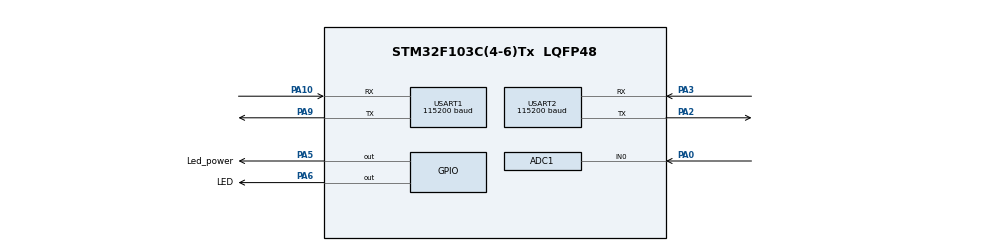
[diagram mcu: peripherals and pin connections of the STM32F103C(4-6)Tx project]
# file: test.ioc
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ADC1.Channel-0\#ChannelRegularConversion=ADC_CHANNEL_0
ADC1.ContinuousConvMode=ENABLE
ADC1.NbrOfConversionFlag=1
ADC1.Rank-0\#ChannelRegularConversion=1
ADC1.SamplingTime-0\#ChannelRegularConversion=ADC_SAMPLETIME_1CYCLE_5
ADC1.master=1
Mcu.Family=STM32F1
Mcu.Name=STM32F103C(4-6)Tx
Mcu.Package=LQFP48
NVIC.PriorityGroup=NVIC_PRIORITYGROUP_4
NVIC.TIM2_IRQn=true\:0\:0\:false\:false\:true\:true\:true
NVIC.USART1_IRQn=true\:0\:0\:false\:false\:true\:true\:true
NVIC.USART2_IRQn=true\:0\:0\:false\:false\:true\:true\:true
PA0-WKUP.Signal=ADCx_IN0
PA10.Mode=Asynchronous
PA10.Signal=USART1_RX
PA2.Mode=Asynchronous
PA2.Signal=USART2_TX
PA3.Mode=Asynchronous
PA3.Signal=USART2_RX
PA5.GPIO_Label=Led_power
PA5.Signal=GPIO_Output
PA6.GPIO_Label=LED
PA6.Signal=GPIO_Output
PA9.Mode=Asynchronous
PA9.Signal=USART1_TX
ProjectManager.HeapSize=0x200
ProjectManager.StackSize=0x400
ProjectManager.TargetToolchain=STM32CubeIDE
RCC.APB1Freq_Value=8000000
RCC.APB2Freq_Value=8000000
SH.ADCx_IN0.0=ADC1_IN0,IN0
TIM2.Period=999
TIM2.Prescaler=79
USART1.BaudRate=115200
USART1.VirtualMode=VM_ASYNC
USART2.BaudRate=115200
USART2.VirtualMode=VM_ASYNC
VP_SYS_VS_ND.Mode=No_Debug
VP_TIM2_VS_ClockSourceINT.Mode=Internal
board=custom

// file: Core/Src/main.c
/* USER CODE BEGIN Header */
/**
  ******************************************************************************
  * @file           : main.c
  * @brief          : Main program body
  ******************************************************************************
  * @attention
  *
  * Copyright (c) 2022 STMicroelectronics.
  * All rights reserved.
  *
  * This software is licensed under terms that can be found in the LICENSE file
  * in the root directory of this software component.
  * If no LICENSE file comes with this software, it is provided AS-IS.
  *
  ******************************************************************************
  */
/* USER CODE END Header */
#include "main.h"

/* USER CODE BEGIN Includes */
#include "timer.h"
#include "command_parser.h"
#include "uart_comm.h"
#include <string.h>
#include <stdio.h>
/* USER CODE END Includes */

ADC_HandleTypeDef hadc1;

TIM_HandleTypeDef htim2;

UART_HandleTypeDef huart1;
UART_HandleTypeDef huart2;

void SystemClock_Config(void);
static void MX_GPIO_Init(void);
static void MX_TIM2_Init(void);
static void MX_USART2_UART_Init(void);
static void MX_USART1_UART_Init(void);
static void MX_ADC1_Init(void);

/* USER CODE BEGIN 0 */

#define MAX_BUFFER_SIZE 50

static uint8_t temp = 0;
uint8_t buffer_flag = 0;
uint8_t buffer[MAX_BUFFER_SIZE];
uint8_t index_buffer = 0;
void HAL_UART_RxCpltCallback(UART_HandleTypeDef *huart){

	if (huart->Instance == USART2) {
		//TODO HERE
		//gui nguoc lai len terminal
//		HAL_UART_Transmit(huart, &temp, 1, 50);
//		buffer[index_buffer++] = temp;
//		if (index_buffer == MAX_BUFFER_SIZE) index_buffer = 0;
		buffer_flag = 1;
		HAL_UART_Transmit(&huart1, &temp, 1,1000);
		//ENABLE LAI INTERRUPT
		HAL_UART_Receive_IT(&huart2, &temp, 1);
	}

}

/* USER CODE END 0 */

int main(void)
{

  /* MCU Configuration--------------------------------------------------------*/

  /* Reset of all peripherals, Initializes the Flash interface and the Systick. */
  HAL_Init();

  /* Configure the system clock */
  SystemClock_Config();

  /* Initialize all configured peripherals */
  MX_GPIO_Init();
  MX_TIM2_Init();
  MX_USART2_UART_Init();
  MX_USART1_UART_Init();
  MX_ADC1_Init();
  /* USER CODE BEGIN 2 */
  HAL_TIM_Base_Start_IT(&htim2);
  HAL_ADC_Start(&hadc1);

  int adc_value = 0;
  static char str[50];

  /* USER CODE END 2 */

  /* Infinite loop */
  /* USER CODE BEGIN WHILE */
  init_timer(0, 1000, 10);
  HAL_UART_Receive_IT(&huart2, &temp, 1);

  while (1)
  {
	  if (get_timer_flag(0) == 1) {
		  HAL_GPIO_TogglePin(GPIOA, Led_power_Pin);
//		  HAL_UART_Transmit(&huart1, &tempp, 1, 1000);
		  adc_value = HAL_ADC_GetValue(&hadc1);
//		  HAL_UART_Transmit(&huart1, (uint8_t*)str, sprintf(str, "%d\r\n", adc_value), 1000);
		  HAL_UART_Transmit(&huart2, (uint8_t*)str, sprintf(str, "!%d#\n", adc_value), 1000);
		  init_timer(0, 1000, 10);

	  }
	  if (buffer_flag == 1) {
//		  HAL_UART_Transmit(&huart1, &temp, 1, 1000);
		  command_parser(temp);
		  buffer_flag = 0;
	  }
	  if (is_command_done()) {
		  uart_comm();

	  }
    /* USER CODE END WHILE */

  }
}

void SystemClock_Config(void)
{
  RCC_OscInitTypeDef RCC_OscInitStruct = {0};
  RCC_ClkInitTypeDef RCC_ClkInitStruct = {0};
  RCC_PeriphCLKInitTypeDef PeriphClkInit = {0};

  /** Initializes the RCC Oscillators according to the specified parameters
  * in the RCC_OscInitTypeDef structure.
  */
  RCC_OscInitStruct.OscillatorType = RCC_OSCILLATORTYPE_HSI;
  RCC_OscInitStruct.HSIState = RCC_HSI_ON;
  RCC_OscInitStruct.HSICalibrationValue = RCC_HSICALIBRATION_DEFAULT;
  RCC_OscInitStruct.PLL.PLLState = RCC_PLL_NONE;
  if (HAL_RCC_OscConfig(&RCC_OscInitStruct) != HAL_OK)
  {
    Error_Handler();
  }
  /** Initializes the CPU, AHB and APB buses clocks
  */
  RCC_ClkInitStruct.ClockType = RCC_CLOCKTYPE_HCLK|RCC_CLOCKTYPE_SYSCLK
                              |RCC_CLOCKTYPE_PCLK1|RCC_CLOCKTYPE_PCLK2;
  RCC_ClkInitStruct.SYSCLKSource = RCC_SYSCLKSOURCE_HSI;
  RCC_ClkInitStruct.AHBCLKDivider = RCC_SYSCLK_DIV1;
  RCC_ClkInitStruct.APB1CLKDivider = RCC_HCLK_DIV1;
  RCC_ClkInitStruct.APB2CLKDivider = RCC_HCLK_DIV1;

  if (HAL_RCC_ClockConfig(&RCC_ClkInitStruct, FLASH_LATENCY_0) != HAL_OK)
  {
    Error_Handler();
  }
  PeriphClkInit.PeriphClockSelection = RCC_PERIPHCLK_ADC;
  PeriphClkInit.AdcClockSelection = RCC_ADCPCLK2_DIV2;
  if (HAL_RCCEx_PeriphCLKConfig(&PeriphClkInit) != HAL_OK)
  {
    Error_Handler();
  }
}

static void MX_ADC1_Init(void)
{

  ADC_ChannelConfTypeDef sConfig = {0};

  /** Common config
  */
  hadc1.Instance = ADC1;
  hadc1.Init.ScanConvMode = ADC_SCAN_DISABLE;
  hadc1.Init.ContinuousConvMode = ENABLE;
  hadc1.Init.DiscontinuousConvMode = DISABLE;
  hadc1.Init.ExternalTrigConv = ADC_SOFTWARE_START;
  hadc1.Init.DataAlign = ADC_DATAALIGN_RIGHT;
  hadc1.Init.NbrOfConversion = 1;
  if (HAL_ADC_Init(&hadc1) != HAL_OK)
  {
    Error_Handler();
  }
  /** Configure Regular Channel
  */
  sConfig.Channel = ADC_CHANNEL_0;
  sConfig.Rank = ADC_REGULAR_RANK_1;
  sConfig.SamplingTime = ADC_SAMPLETIME_1CYCLE_5;
  if (HAL_ADC_ConfigChannel(&hadc1, &sConfig) != HAL_OK)
  {
    Error_Handler();
  }

}

static void MX_TIM2_Init(void)
{

  TIM_ClockConfigTypeDef sClockSourceConfig = {0};
  TIM_MasterConfigTypeDef sMasterConfig = {0};

  htim2.Instance = TIM2;
  htim2.Init.Prescaler = 79;
  htim2.Init.CounterMode = TIM_COUNTERMODE_UP;
  htim2.Init.Period = 999;
  htim2.Init.ClockDivision = TIM_CLOCKDIVISION_DIV1;
  htim2.Init.AutoReloadPreload = TIM_AUTORELOAD_PRELOAD_DISABLE;
  if (HAL_TIM_Base_Init(&htim2) != HAL_OK)
  {
    Error_Handler();
  }
  sClockSourceConfig.ClockSource = TIM_CLOCKSOURCE_INTERNAL;
  if (HAL_TIM_ConfigClockSource(&htim2, &sClockSourceConfig) != HAL_OK)
  {
    Error_Handler();
  }
  sMasterConfig.MasterOutputTrigger = TIM_TRGO_RESET;
  sMasterConfig.MasterSlaveMode = TIM_MASTERSLAVEMODE_DISABLE;
  if (HAL_TIMEx_MasterConfigSynchronization(&htim2, &sMasterConfig) != HAL_OK)
  {
    Error_Handler();
  }

}

static void MX_USART1_UART_Init(void)
{

  huart1.Instance = USART1;
  huart1.Init.BaudRate = 115200;
  huart1.Init.WordLength = UART_WORDLENGTH_8B;
  huart1.Init.StopBits = UART_STOPBITS_1;
  huart1.Init.Parity = UART_PARITY_NONE;
  huart1.Init.Mode = UART_MODE_TX_RX;
  huart1.Init.HwFlowCtl = UART_HWCONTROL_NONE;
  huart1.Init.OverSampling = UART_OVERSAMPLING_16;
  if (HAL_UART_Init(&huart1) != HAL_OK)
  {
    Error_Handler();
  }

}

static void MX_USART2_UART_Init(void)
{

  huart2.Instance = USART2;
  huart2.Init.BaudRate = 115200;
  huart2.Init.WordLength = UART_WORDLENGTH_8B;
  huart2.Init.StopBits = UART_STOPBITS_1;
  huart2.Init.Parity = UART_PARITY_NONE;
  huart2.Init.Mode = UART_MODE_TX_RX;
  huart2.Init.HwFlowCtl = UART_HWCONTROL_NONE;
  huart2.Init.OverSampling = UART_OVERSAMPLING_16;
  if (HAL_UART_Init(&huart2) != HAL_OK)
  {
    Error_Handler();
  }

}

static void MX_GPIO_Init(void)
{
  GPIO_InitTypeDef GPIO_InitStruct = {0};

  /* GPIO Ports Clock Enable */
  __HAL_RCC_GPIOA_CLK_ENABLE();

  /*Configure GPIO pin Output Level */
  HAL_GPIO_WritePin(GPIOA, Led_power_Pin|LED_Pin, GPIO_PIN_RESET);

  /*Configure GPIO pins : Led_power_Pin LED_Pin */
  GPIO_InitStruct.Pin = Led_power_Pin|LED_Pin;
  GPIO_InitStruct.Mode = GPIO_MODE_OUTPUT_PP;
  GPIO_InitStruct.Pull = GPIO_NOPULL;
  GPIO_InitStruct.Speed = GPIO_SPEED_FREQ_LOW;
  HAL_GPIO_Init(GPIOA, &GPIO_InitStruct);

}

/* USER CODE BEGIN 4 */
void HAL_TIM_PeriodElapsedCallback(TIM_HandleTypeDef *htim) {
	if (htim->Instance == TIM2) {
		run_timer(0);
	}
}
/* USER CODE END 4 */

void Error_Handler(void)
{
  __disable_irq();
  while (1)
  {
  }
}
